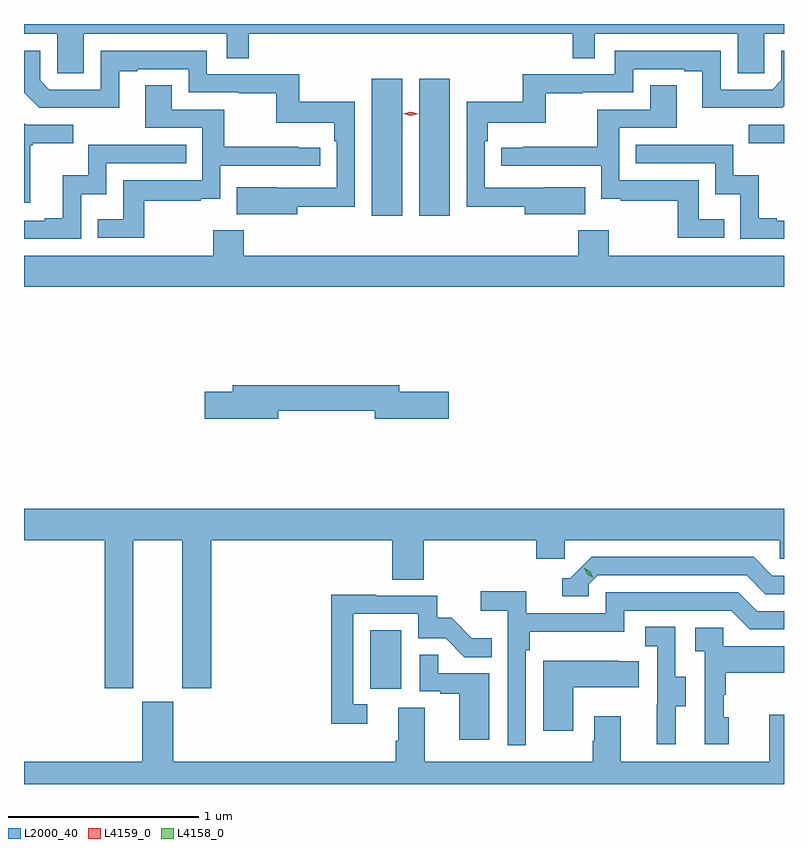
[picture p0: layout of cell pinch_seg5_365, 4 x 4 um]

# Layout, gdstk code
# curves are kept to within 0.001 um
import gdstk
lib = gdstk.Library(unit=1e-6, precision=1e-09)
def R(c, l, rs):  # rectangles x0, y0, x1, y1
    for r in rs: c.add(gdstk.rectangle(r[:2], r[2:], *l))
def P(c, l, *ps):  # polygons
    for p in ps: c.add(gdstk.Polygon(p, *l))
L2000_40 = (2000, 40)
L4158_0 = (4158, 0)
L4159_0 = (4159, 0)

pinch_seg5_365 = lib.new_cell('pinch_seg5_365')
R(pinch_seg5_365, L2000_40, [(1001.372,889.278,1001.536,889.585), (1001.381,891.768,1001.542,892.489), (1001.63,891.768,1001.791,892.489), (1003.365,892.148,1003.55,892.245)])
P(pinch_seg5_365, L2000_40, [(999.865,892.724),(1000.617,892.724),(1000.617,892.597),(1000.733,892.597),(1000.733,892.724),(1002.439,892.724),(1002.439,892.597),(1002.555,892.597),(1002.555,892.724),(1003.307,892.724),(1003.307,892.516),(1003.446,892.516),(1003.446,892.724),(1003.55,892.724),(1003.55,892.776),(999.55,892.776),(999.55,892.724),(999.726,892.724),(999.726,892.516),(999.865,892.516)],
  [(1000.987,891.814),(1001.292,891.814),(1001.292,892.366),(1000.999,892.366),(1000.999,892.512),(1000.512,892.512),(1000.512,892.635),(999.954,892.635),(999.954,892.431),(999.684,892.431),(999.636,892.479),(999.636,892.635),(999.55,892.635),(999.55,892.415),(999.63,892.335),(1000.051,892.334),(1000.051,892.527),(1000.147,892.527),(1000.147,892.539),(1000.416,892.539),(1000.416,892.416),(1000.681,892.416),(1000.681,892.411),(1000.878,892.411),(1000.878,892.256),(1001.183,892.256),(1001.183,892.16),(1001.196,892.16),(1001.196,891.915),(1000.669,891.916),(1000.669,891.776),(1000.987,891.776)],
  [(1002.503,891.916),(1001.976,891.915),(1001.976,892.16),(1001.99,892.16),(1001.99,892.256),(1002.295,892.256),(1002.295,892.411),(1002.491,892.411),(1002.491,892.416),(1002.756,892.416),(1002.756,892.539),(1003.025,892.539),(1003.025,892.527),(1003.121,892.527),(1003.121,892.334),(1003.542,892.335),(1003.55,892.343),(1003.55,892.635),(1003.536,892.635),(1003.536,892.479),(1003.488,892.431),(1003.218,892.431),(1003.218,892.635),(1002.66,892.635),(1002.66,892.512),(1002.174,892.512),(1002.174,892.366),(1001.88,892.366),(1001.88,891.814),(1002.185,891.814),(1002.185,891.776),(1002.503,891.776)],
  [(1003.235,891.748),(1003.101,891.748),(1003.101,891.954),(1002.684,891.954),(1002.684,892.23),(1002.985,892.23),(1002.985,892.454),(1002.845,892.454),(1002.845,892.326),(1002.568,892.326),(1002.568,892.13),(1002.175,892.13),(1002.175,892.125),(1002.063,892.125),(1002.063,892.029),(1002.588,892.029),(1002.588,891.857),(1002.691,891.857),(1002.691,891.846),(1002.99,891.846),(1002.99,891.651),(1003.235,891.651)],
  [(1000.183,891.846),(1000.481,891.846),(1000.481,891.857),(1000.584,891.857),(1000.584,892.029),(1001.11,892.029),(1001.11,892.125),(1000.997,892.125),(1000.997,892.13),(1000.604,892.13),(1000.604,892.326),(1000.327,892.326),(1000.327,892.454),(1000.187,892.454),(1000.187,892.23),(1000.488,892.23),(1000.488,891.954),(1000.072,891.954),(1000.072,891.748),(999.937,891.748),(999.937,891.651),(1000.183,891.651)],
  [(999.583,892.137),(999.595,892.137),(999.595,892.148),(999.808,892.148),(999.808,892.245),(999.558,892.245),(999.55,892.253),(999.55,891.834),(999.583,891.834)],
  [(1003.55,891.741),(1003.513,891.741),(1003.513,891.754),(1003.417,891.754),(1003.417,891.979),(1003.284,891.979),(1003.284,892.14),(1002.769,892.14),(1002.769,892.044),(1003.188,892.044),(1003.188,891.881),(1003.32,891.881),(1003.32,891.645),(1003.55,891.645)],
  [(999.852,891.881),(999.984,891.881),(999.984,892.044),(1000.403,892.044),(1000.403,892.14),(999.888,892.14),(999.888,891.979),(999.755,891.979),(999.755,891.754),(999.659,891.754),(999.659,891.741),(999.55,891.741),(999.55,891.645),(999.852,891.645)],
  [(1003.55,891.556),(1002.627,891.556),(1002.627,891.691),(1002.467,891.691),(1002.467,891.556),(1000.706,891.556),(1000.706,891.691),(1000.546,891.691),(1000.546,891.556),(999.55,891.556),(999.55,891.392),(1003.55,891.392)],
  [(1000.888,890.74),(1001.396,890.74),(1001.396,890.698),(1001.785,890.698),(1001.785,890.84),(1001.524,890.84),(1001.524,890.876),(1000.649,890.876),(1000.649,890.84),(1000.5,890.84),(1000.5,890.698),(1000.888,890.698)],
  [(1000.126,890.06),(1000.382,890.06),(1000.382,889.281),(1000.535,889.281),(1000.535,890.06),(1001.489,890.06),(1001.489,889.852),(1001.654,889.852),(1001.654,890.06),(1002.245,890.06),(1002.245,889.962),(1002.396,889.962),(1002.396,890.06),(1003.527,890.06),(1003.527,889.962),(1003.55,889.962),(1003.55,890.224),(999.55,890.224),(999.55,890.06),(999.974,890.06),(999.974,889.281),(1000.126,889.281)],
  [(1002.522,889.827),(1002.57,889.875),(1003.353,889.875),(1003.452,889.776),(1003.55,889.776),(1003.55,889.872),(1003.489,889.872),(1003.39,889.971),(1002.537,889.971),(1002.426,889.86),(1002.383,889.86),(1002.383,889.764),(1002.522,889.764)],
  [(1002.192,889.481),(1002.212,889.481),(1002.212,889.577),(1002.708,889.577),(1002.708,889.689),(1003.272,889.689),(1003.371,889.59),(1003.55,889.59),(1003.55,889.686),(1003.408,889.686),(1003.309,889.785),(1002.612,889.785),(1002.612,889.674),(1002.194,889.674),(1002.194,889.79),(1001.955,889.79),(1001.955,889.688),(1002.096,889.688),(1002.096,888.981),(1002.192,888.981)],
  [(1001.356,889.197),(1001.283,889.197),(1001.283,889.671),(1001.625,889.671),(1001.625,889.542),(1001.769,889.542),(1001.867,889.444),(1002.011,889.444),(1002.011,889.543),(1001.907,889.543),(1001.8,889.65),(1001.724,889.65),(1001.724,889.767),(1001.405,889.767),(1001.405,889.772),(1001.167,889.772),(1001.167,889.092),(1001.356,889.092)],
  [(1002.979,889.186),(1003.033,889.186),(1003.033,889.341),(1002.978,889.341),(1002.978,889.604),(1002.819,889.604),(1002.819,889.501),(1002.882,889.501),(1002.882,889.197),(1002.881,889.197),(1002.881,888.984),(1002.979,888.984)],
  [(1003.258,889.128),(1003.233,889.128),(1003.233,889.247),(1003.243,889.247),(1003.243,889.361),(1003.55,889.361),(1003.55,889.501),(1003.23,889.501),(1003.23,889.599),(1003.083,889.599),(1003.083,889.475),(1003.134,889.475),(1003.134,888.984),(1003.258,888.984)],
  [(1001.998,889.359),(1001.729,889.359),(1001.729,889.457),(1001.634,889.457),(1001.634,889.263),(1001.741,889.263),(1001.741,889.251),(1001.84,889.251),(1001.84,889.008),(1001.998,889.008)],
  [(1002.442,889.286),(1002.785,889.286),(1002.785,889.423),(1002.677,889.423),(1002.677,889.426),(1002.284,889.426),(1002.284,889.056),(1002.442,889.056)],
  [(1003.55,889.141),(1003.472,889.141),(1003.472,888.892),(1002.691,888.892),(1002.691,889.132),(1002.551,889.132),(1002.551,889.004),(1002.544,889.004),(1002.544,888.892),(1001.659,888.892),(1001.659,889.178),(1001.519,889.178),(1001.519,889.004),(1001.507,889.004),(1001.507,888.892),(1000.336,888.892),(1000.336,889.209),(1000.172,889.209),(1000.172,888.892),(999.55,888.892),(999.55,888.776),(1003.55,888.776)])
P(pinch_seg5_365, L4158_0, [(1002.546,889.861),(1002.515,889.88),(1002.499,889.913),(1002.499,889.913),(1002.499,889.913),(1002.53,889.894),(1002.546,889.861),(1002.546,889.861)])
P(pinch_seg5_365, L4159_0, [(1001.586,892.293),(1001.546,892.303),(1001.546,892.303),(1001.546,892.303),(1001.586,892.313),(1001.626,892.303),(1001.626,892.303),(1001.626,892.303)])

lib.write_gds('pinch_seg5_365.gds')
